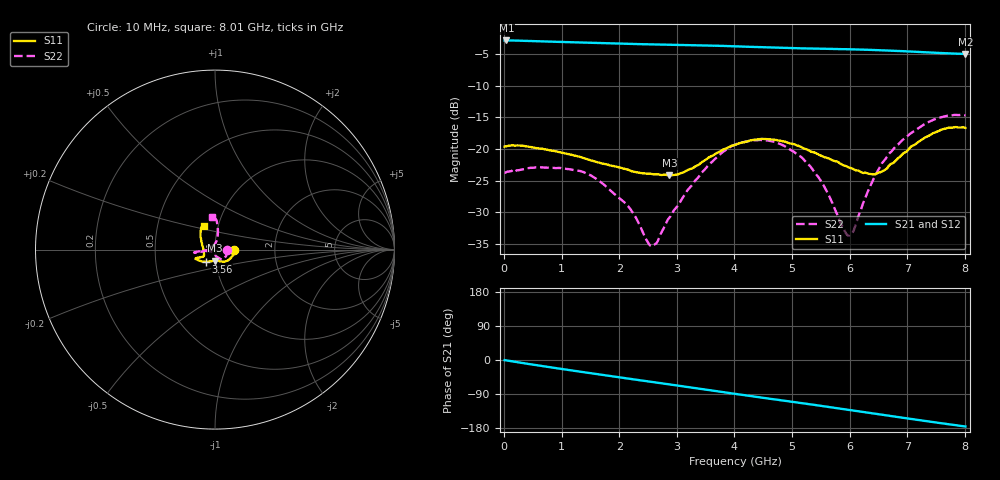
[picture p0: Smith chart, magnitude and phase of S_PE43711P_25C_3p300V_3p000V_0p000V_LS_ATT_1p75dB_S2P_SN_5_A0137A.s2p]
! Device ID: PE43711P
! File Path: z:\PE43711P\CHAR_NOM_04282014\AMB\3p300\LS_ATT_1p75dB\PE43711P_AMB_3p300V_3p000V_0p000V_LS_ATT_1p75dB_S2P_SN_5_A0137A.s2p
! Serial: 5
! Lot: A0137A
! Temp: 25C
! VDD: 3.300
! VSS: 0.000
! Control_Hi: 3.000
! Control_Lo: 0.000
! Attenuation Step: 1.75dB
! Port 1: RF1
! Port 2: RF2
! ThroughPath:1-2
! IDD: 0.0001277888
! ISS: -1.221e-007
#  Hz  S  RI  R  50
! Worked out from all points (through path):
!   801 points, 10 MHz to 8.01 GHz, reference 50 ohm
!   highest |S21| = -2.81 dB at 40 MHz (marker M1); lowest = -5.0 dB at 8.01 GHz (marker M2)
!   group delay of S21, straight-line fit = 60.4 ps
!   lowest |S11| = -24.2 dB at 2.87 GHz (marker M3), VSWR 1.13, Z = 49.8 - j6.17 ohm
!   |S11| at or under -10 dB: start of sweep to end of sweep
!   |S22| runs from -35.4 to -14.6 dB; largest |S21 - S12| = 0.00097
!   S11 on the Smith chart (normalised r, x): 10 MHz: 1.23, -0.00; 3.56 GHz: 0.89, -0.12; 8.01 GHz: 0.85, +0.23
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1e7  0.1044 -0.000572  0.7235 -0.00382  0.7237 -0.004  0.0648 -0.000462
4e7  0.1049 -0.00194  0.7235 -0.0126  0.7234 -0.0127  0.0656 -0.00109
5.8e8  0.0924 -0.0416  0.692 -0.1736  0.692 -0.1736  0.0628 -0.0344
1.35e9  0.0535 -0.0667  0.5947 -0.3636  0.595 -0.3637  0.0374 -0.0547
2.13e9  0.0242 -0.0646  0.4508 -0.5104  0.4511 -0.5106  0.00517 -0.036
2.54e9  0.0158 -0.0617  0.3637 -0.5669  0.364 -0.5671  -0.0076 -0.0154
2.68e9  0.0111 -0.0618  0.3329 -0.5832  0.3332 -0.5837  -0.0154 -0.0114
2.87e9  0.0014 -0.0618  0.2895 -0.6038  0.2896 -0.6039  -0.0266 -0.0105
3.56e9  -0.0521 -0.0685  0.1217 -0.6476  0.1216 -0.648  -0.0752 -0.00793
4.01e9  -0.0888 -0.0608  0.00818 -0.65  0.00788 -0.6506  -0.1074 -0.0139
4.7e9  -0.1076 -0.0493  -0.1533 -0.6163  -0.1533 -0.6163  -0.1124 -0.0171
5.14e9  -0.0946 -0.045  -0.2472 -0.5759  -0.2476 -0.5765  -0.0866 -0.0131
5.35e9  -0.0849 -0.0417  -0.29 -0.5527  -0.2902 -0.5534  -0.0686 -0.0106
5.56e9  -0.0757 -0.0412  -0.3313 -0.5262  -0.3315 -0.5264  -0.0501 -0.00522
5.88e9  -0.0641 -0.0382  -0.3898 -0.4784  -0.3904 -0.4787  -0.0222 0.00909
5.99e9  -0.0622 -0.035  -0.4089 -0.4603  -0.4093 -0.4608  -0.013 0.016
6.08e9  -0.061 -0.0312  -0.424 -0.4442  -0.4241 -0.4445  -0.00639 0.0223
6.41e9  -0.0625 -0.00743  -0.4725 -0.3824  -0.4727 -0.3827  0.0116 0.0561
6.68e9  -0.07 0.0221  -0.5045 -0.3279  -0.5043 -0.3282  0.0156 0.0898
7.36e9  -0.0799 0.0974  -0.553 -0.181  -0.5531 -0.1809  0.00898 0.1625
7.68e9  -0.0761 0.1243  -0.5616 -0.1125  -0.5617 -0.1122  -0.00473 0.1825
8.01e9  -0.0614 0.1336  -0.5636 -0.0437  -0.564 -0.043  -0.0147 0.1838
